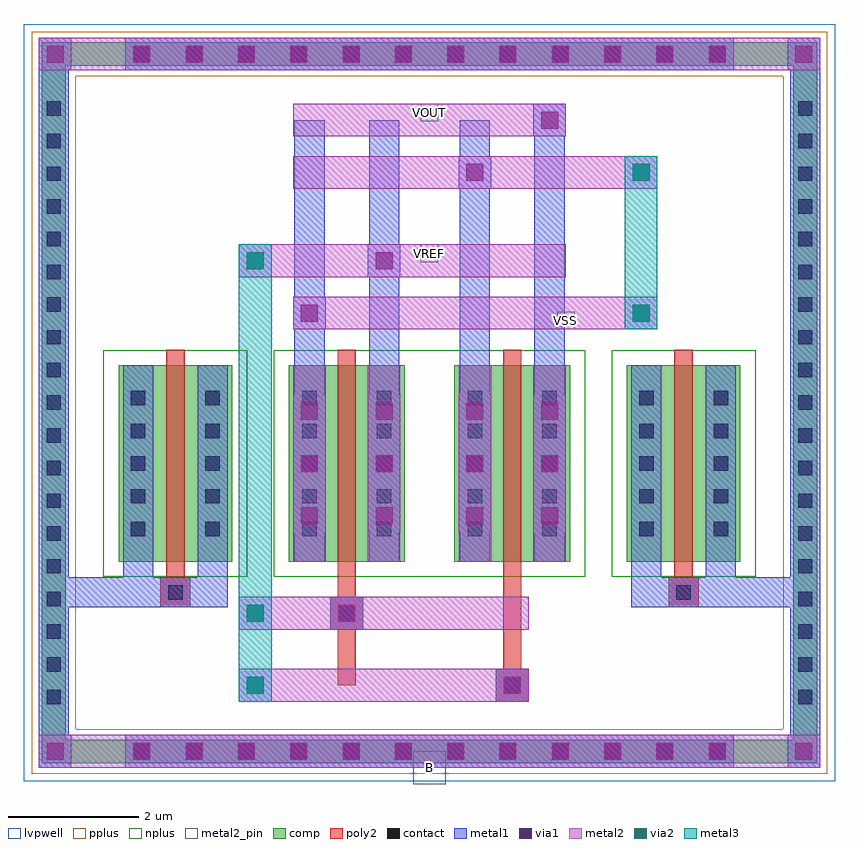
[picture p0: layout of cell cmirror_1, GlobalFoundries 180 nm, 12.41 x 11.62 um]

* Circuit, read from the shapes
.subckt cmirror_1 B VOUT VREF VSS
XM1 B B B B nfet_03v3 w=3u l=0.28u m=2
XM2 VREF VREF VSS B nfet_03v3 w=3u l=0.28u
XM3 VOUT VREF VSS B nfet_03v3 w=3u l=0.28u
.ends

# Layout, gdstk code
import gdstk
lib = gdstk.Library(unit=1e-6, precision=5e-09)
def R(c, l, rs):  # rectangles x0, y0, x1, y1
    for r in rs: c.add(gdstk.rectangle(r[:2], r[2:], *l))
def A(c, l, x, y, w, h, nx, ny, dx, dy):  # array of equal rectangles
    R(c, l, [(x+i*dx, y+j*dy, x+i*dx+w, y+j*dy+h) for i in range(nx) for j in range(ny)])
def P(c, l, *ps):  # polygons
    for p in ps: c.add(gdstk.Polygon(p, *l))
comp = (22, 0)
poly2 = (30, 0)
pplus = (31, 0)
nplus = (32, 0)
contact = (33, 0)
metal1 = (34, 0)
via1 = (35, 0)
metal2 = (36, 0)
metal2_pin = (36, 10)
via2 = (38, 0)
metal3 = (42, 0)
lvpwell = (204, 0)

cmirror_1 = lib.new_cell('cmirror_1')
A(cmirror_1, comp, -4.58, -5.51, 0.36, 0.36, 12, 2, 0.8, 10.66)
A(cmirror_1, comp, -5.925, -4.68, 0.36, 0.36, 1, 19, 0, 0.5)
A(cmirror_1, comp, 5.565, -4.68, 0.36, 0.36, 1, 19, 0, 0.5)
R(cmirror_1, comp, [(-4.58,-5.51,4.58,-5.15), (-5.925,-4.68,-5.565,4.68), (5.565,-4.68,5.925,4.68), (-4.755,-2.43,-3.015,0.57), (-2.155,-2.43,-0.375,0.57), (0.375,-2.43,2.155,0.57), (3.015,-2.43,4.755,0.57), (-4.58,5.15,4.58,5.51)])
P(cmirror_1, comp, [(5.925,5.51),(-5.925,5.51),(-5.925,-5.15),(-5.565,-5.15),(-5.565,5.15),(5.565,5.15),(5.565,-5.15),(-5.565,-5.15),(-5.925,-5.15),(-5.925,-5.51),(5.925,-5.51)])
R(cmirror_1, poly2, [(1.015,-4.57,1.515,-4.07), (1.085,-4.5,1.445,-4.14), (-1.405,-4.32,-1.125,-2.67), (1.125,-4.07,1.405,-2.67), (-1.515,-3.47,-1.015,-2.97), (-1.445,-3.4,-1.085,-3.04), (-4.115,-3.13,-3.655,-2.67), (3.655,-3.13,4.115,-2.67), (-4.065,-3.08,-3.705,-2.72), (3.705,-3.08,4.065,-2.72), (-1.405,-2.97,-1.125,-2.67), (-4.025,-2.67,-3.745,0.81), (-1.405,-2.67,-1.125,0.81), (1.125,-2.67,1.405,0.81), (3.745,-2.67,4.025,0.81)])
P(cmirror_1, pplus, [(6.085,5.67),(-6.085,5.67),(-6.085,-4.99),(-5.405,-4.99),(-5.405,4.99),(5.405,4.99),(5.405,-4.99),(-5.405,-4.99),(-6.085,-4.99),(-6.085,-5.67),(6.085,-5.67)])
R(cmirror_1, nplus, [(-4.985,-2.66,-2.785,0.8), (-2.385,-2.66,-0.145,0.8), (-2.385,-2.66,2.385,0.8), (0.145,-2.66,2.385,0.8), (2.785,-2.66,4.985,0.8)])
A(cmirror_1, contact, -4.51, -5.44, 0.22, 0.22, 12, 2, 0.8, 10.66)
A(cmirror_1, contact, -5.855, -4.61, 0.22, 0.22, 1, 19, 0, 0.5)
A(cmirror_1, contact, 5.635, -4.61, 0.22, 0.22, 1, 19, 0, 0.5)
A(cmirror_1, contact, -4.565, -2.04, 0.22, 0.22, 1, 5, 0, 0.5)
A(cmirror_1, contact, -3.425, -2.04, 0.22, 0.22, 1, 5, 0, 0.5)
A(cmirror_1, contact, -1.945, -2.04, 0.22, 0.22, 1, 5, 0, 0.5)
A(cmirror_1, contact, -0.805, -2.04, 0.22, 0.22, 1, 5, 0, 0.5)
A(cmirror_1, contact, 0.585, -2.04, 0.22, 0.22, 1, 5, 0, 0.5)
A(cmirror_1, contact, 1.725, -2.04, 0.22, 0.22, 1, 5, 0, 0.5)
A(cmirror_1, contact, 3.205, -2.04, 0.22, 0.22, 1, 5, 0, 0.5)
A(cmirror_1, contact, 4.345, -2.04, 0.22, 0.22, 1, 5, 0, 0.5)
R(cmirror_1, contact, [(1.155,-4.43,1.375,-4.21), (-1.375,-3.33,-1.155,-3.11), (-3.995,-3.01,-3.775,-2.79), (3.775,-3.01,3.995,-2.79)])
A(cmirror_1, metal1, -4.65, -5.58, 0.5, 0.5, 12, 2, 0.8, 10.66)
A(cmirror_1, metal1, -5.975, -4.73, 0.46, 0.46, 1, 19, 0, 0.5)
A(cmirror_1, metal1, 5.515, -4.73, 0.46, 0.46, 1, 19, 0, 0.5)
A(cmirror_1, metal1, -4.685, -2.16, 0.46, 0.46, 1, 5, 0, 0.5)
A(cmirror_1, metal1, -3.545, -2.16, 0.46, 0.46, 1, 5, 0, 0.5)
A(cmirror_1, metal1, -2.065, -2.16, 0.46, 0.46, 1, 5, 0, 0.5)
A(cmirror_1, metal1, -0.925, -2.16, 0.46, 0.46, 1, 5, 0, 0.5)
A(cmirror_1, metal1, 0.465, -2.16, 0.46, 0.46, 1, 5, 0, 0.5)
A(cmirror_1, metal1, 1.605, -2.16, 0.46, 0.46, 1, 5, 0, 0.5)
A(cmirror_1, metal1, 3.085, -2.16, 0.46, 0.46, 1, 5, 0, 0.5)
A(cmirror_1, metal1, 4.225, -2.16, 0.46, 0.46, 1, 5, 0, 0.5)
A(cmirror_1, metal1, -2.085, -1.98, 0.5, 0.5, 1, 3, 0, 0.8)
A(cmirror_1, metal1, -0.945, -1.98, 0.5, 0.5, 1, 3, 0, 0.8)
A(cmirror_1, metal1, 0.445, -1.98, 0.5, 0.5, 1, 3, 0, 0.8)
A(cmirror_1, metal1, 1.585, -1.98, 0.5, 0.5, 1, 3, 0, 0.8)
R(cmirror_1, metal1, [(-5.975,-5.58,-5.475,-5.08), (-5.975,-5.58,-5.475,-5.08), (-5.975,-5.58,-5.515,-5.15), (-4.65,-5.58,4.65,-5.08), (5.475,-5.58,5.975,-5.08), (5.475,-5.58,5.975,-5.08), (5.515,-5.58,5.975,-5.15), (-5.975,-5.15,-5.515,5.15), (5.515,-5.15,5.975,5.15), (1.015,-4.57,1.515,-4.07), (-1.515,-3.47,-1.015,-2.97), (-5.975,-3.13,-4.115,-2.67), (-4.685,-3.13,-4.115,-2.67), (-4.685,-3.13,-4.225,-2.43), (-4.115,-3.13,-3.655,-2.67), (-3.655,-3.13,-3.085,-2.67), (-3.545,-3.13,-3.085,-2.43), (3.085,-3.13,3.655,-2.67), (3.085,-3.13,3.545,-2.43), (3.655,-3.13,4.115,-2.67), (4.115,-3.13,4.685,-2.67), (4.115,-3.13,5.975,-2.67), (4.225,-3.13,4.685,-2.43), (-4.685,-2.43,-4.225,0.57), (-3.545,-2.43,-3.085,0.57), (-2.065,-2.43,-1.605,0.57), (-0.925,-2.43,-0.465,0.57), (0.465,-2.43,0.925,0.57), (1.605,-2.43,2.065,0.57), (3.085,-2.43,3.545,0.57), (4.225,-2.43,4.685,0.57), (-2.085,-1.98,-1.585,0.12), (-0.945,-1.98,-0.445,0.12), (0.445,-1.98,0.945,0.12), (1.585,-1.98,2.085,0.12), (-2.065,0.57,-1.605,1.62), (-2.065,0.57,-1.605,4.32), (-0.925,0.57,-0.465,2.42), (-0.925,0.57,-0.465,4.32), (0.465,0.57,0.925,3.77), (0.465,0.57,0.925,4.32), (1.605,0.57,2.065,4.57), (1.605,0.57,2.065,4.32), (-2.085,1.12,-1.585,1.62), (-0.945,1.92,-0.445,2.42), (0.445,3.27,0.945,3.77), (1.585,4.07,2.085,4.57), (-5.975,5.08,-5.475,5.58), (-5.975,5.08,-5.475,5.58), (-4.65,5.08,4.65,5.58), (5.475,5.08,5.975,5.58), (5.475,5.08,5.975,5.58), (-5.975,5.15,-5.515,5.58), (5.515,5.15,5.975,5.58)])
A(cmirror_1, via1, -4.53, -5.46, 0.26, 0.26, 12, 2, 0.8, 10.66)
A(cmirror_1, via1, -1.965, -1.86, 0.26, 0.26, 1, 3, 0, 0.8)
A(cmirror_1, via1, -0.825, -1.86, 0.26, 0.26, 1, 3, 0, 0.8)
A(cmirror_1, via1, 0.565, -1.86, 0.26, 0.26, 1, 3, 0, 0.8)
A(cmirror_1, via1, 1.705, -1.86, 0.26, 0.26, 1, 3, 0, 0.8)
R(cmirror_1, via1, [(-5.855,-5.46,-5.595,-5.2), (5.595,-5.46,5.855,-5.2), (1.135,-4.45,1.395,-4.19), (-1.395,-3.35,-1.135,-3.09), (-1.965,1.24,-1.705,1.5), (-0.825,2.04,-0.565,2.3), (0.565,3.39,0.825,3.65), (1.705,4.19,1.965,4.45), (-5.855,5.2,-5.595,5.46), (5.595,5.2,5.855,5.46)])
A(cmirror_1, metal2, -4.65, -5.58, 0.5, 0.5, 12, 2, 0.8, 10.66)
A(cmirror_1, metal2, -2.085, -1.98, 0.5, 0.5, 1, 3, 0, 0.8)
A(cmirror_1, metal2, -0.945, -1.98, 0.5, 0.5, 1, 3, 0, 0.8)
A(cmirror_1, metal2, 0.445, -1.98, 0.5, 0.5, 1, 3, 0, 0.8)
A(cmirror_1, metal2, 1.585, -1.98, 0.5, 0.5, 1, 3, 0, 0.8)
R(cmirror_1, metal2, [(-5.975,-5.58,-5.475,-5.08), (-5.975,-5.58,-5.475,-5.08), (-5.975,-5.58,-5.565,-5.08), (-5.565,-5.58,5.565,-5.08), (5.475,-5.58,5.975,-5.08), (5.475,-5.58,5.975,-5.08), (5.565,-5.58,5.975,-5.08), (-2.915,-4.57,-2.415,-4.07), (-2.915,-4.57,-1.515,-4.07), (-1.515,-4.57,1.515,-4.07), (1.015,-4.57,1.515,-4.07), (1.015,-4.57,1.515,-4.07), (-2.915,-3.47,-2.415,-2.97), (-2.915,-3.47,-1.515,-2.97), (-1.515,-3.47,-1.015,-2.97), (-1.515,-3.47,-1.015,-2.97), (-1.515,-3.47,1.515,-2.97), (-2.085,-2.43,-1.585,0.57), (-0.945,-2.43,-0.445,0.57), (0.445,-2.43,0.945,0.57), (1.585,-2.43,2.085,0.57), (-2.085,1.12,-1.585,1.62), (-2.085,1.12,-0.445,1.62), (-2.085,1.12,2.085,1.62), (2.085,1.12,3.485,1.62), (2.985,1.12,3.485,1.62), (-2.915,1.92,-2.415,2.42), (-2.915,1.92,-2.415,2.42), (-2.915,1.92,-2.085,2.42), (-2.085,1.92,-0.445,2.42), (-2.085,1.92,2.085,2.42), (-0.945,1.92,-0.445,2.42), (-2.085,3.27,2.085,3.77), (0.445,3.27,0.945,3.77), (0.445,3.27,2.085,3.77), (2.085,3.27,3.485,3.77), (2.985,3.27,3.485,3.77), (-2.085,4.07,2.085,4.57), (0.445,4.07,2.085,4.57), (1.585,4.07,2.085,4.57), (-5.975,5.08,-5.475,5.58), (-5.975,5.08,-5.475,5.58), (-5.975,5.08,-5.565,5.58), (-5.565,5.08,5.565,5.58), (5.475,5.08,5.975,5.58), (5.475,5.08,5.975,5.58), (5.565,5.08,5.975,5.58)])
R(cmirror_1, metal2_pin, [(-0.25,-5.83,0.25,-5.33), (1.95,1.12,2.22,1.39), (-0.135,2.15,0.135,2.42), (-0.135,4.3,0.135,4.57)])
R(cmirror_1, via2, [(-2.795,-4.45,-2.535,-4.19), (-2.795,-3.35,-2.535,-3.09), (3.105,1.24,3.365,1.5), (-2.795,2.04,-2.535,2.3), (3.105,3.39,3.365,3.65)])
R(cmirror_1, metal3, [(-2.915,-4.57,-2.415,-4.07), (-2.915,-4.57,-2.415,-4.07), (-2.915,-4.57,-2.415,-2.97), (-2.915,-3.47,-2.415,-2.97), (-2.915,-3.47,-2.415,-2.97), (-2.915,-2.97,-2.415,2.42), (2.985,1.12,3.485,1.62), (2.985,1.12,3.485,1.62), (2.985,1.12,3.485,3.77), (-2.915,1.92,-2.415,2.42), (-2.915,1.92,-2.415,2.42), (2.985,3.27,3.485,3.77), (2.985,3.27,3.485,3.77)])
P(cmirror_1, metal3, [(3.485,1.12),(3.485,1.12),(3.485,1.62),(3.485,1.62)],
  [(3.485,3.27),(3.485,3.27),(3.485,3.77),(3.485,3.77)],
  [(-2.415,-4.57),(-2.415,-4.57),(-2.415,-4.07),(-2.415,-4.07)],
  [(-2.415,-3.47),(-2.415,-3.47),(-2.415,-2.97),(-2.415,-2.97)])
R(cmirror_1, lvpwell, [(-6.205,-5.79,6.205,5.79), (-5.105,-4.69,5.105,4.69)])
cmirror_1.add(gdstk.Label('B', (0,-5.58), layer=36, texttype=10))
cmirror_1.add(gdstk.Label('VOUT', (0,4.435), layer=36, texttype=10))
cmirror_1.add(gdstk.Label('VREF', (0,2.285), layer=36, texttype=10))
cmirror_1.add(gdstk.Label('VSS', (2.085,1.255), layer=36, texttype=10))

lib.write_gds('cmirror_1.gds')
